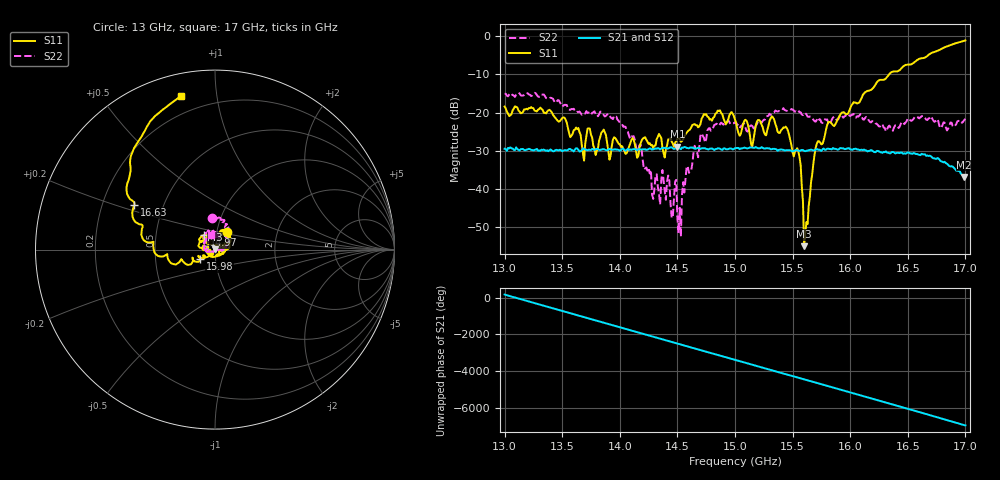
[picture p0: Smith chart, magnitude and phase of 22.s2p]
!Keysight Technologies,P9374A,MY57211807,A.19.30.04
!Date: Friday, May 01, 2026 14:44:44
!Correction: S11(C  2-Port  )
!S21(C  2-Port  )
!S12(C  2-Port  )
!S22(C  2-Port  )
!S2P File: Measurements: S11, S21, S12, S22:
# Hz S  RI  R 50
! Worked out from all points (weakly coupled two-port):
!   401 points, 13 GHz to 17 GHz, reference 50 ohm
!   highest |S21| = -28.92 dB at 14.5 GHz (marker M1); lowest = -36.8 dB at 16.99 GHz (marker M2)
!   lowest |S11| = -55.0 dB at 15.6 GHz (marker M3), VSWR 1.00, Z = 50.1 + j0.129 ohm
!   |S11| at or under -10 dB: start of sweep to 16.34 GHz
!   |S22| runs from -52.5 to -14.8 dB; largest |S21 - S12| = 0.0014
!   S11 on the Smith chart (normalised r, x): 13 GHz: 1.12, +0.23; 14.97 GHz: 0.87, +0.14; 15.98 GHz: 0.85, -0.09; 16.63 GHz: 0.34, +0.23; 17 GHz: 0.11, +0.80
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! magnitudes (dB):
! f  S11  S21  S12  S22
! 13 GHz  -18.4  -29.5  -29.4  -15.1
! 13.39 GHz  -19.3  -29.8  -29.8  -16.2
! 13.67 GHz  -28.5  -29.8  -29.8  -20.6
! 13.97 GHz  -27.1  -29.7  -29.7  -21.1
! 14.34 GHz  -25.6  -29.4  -29.4  -41.1
! 14.5 GHz  -26.8  -28.9  -28.9  -47.6
! 14.52 GHz  -26.9  -29.4  -29.4  -44.9
! 14.57 GHz  -25.7  -29.1  -29.1  -37.6
! 14.71 GHz  -21.6  -29.3  -29.4  -25.4
! 14.97 GHz  -19.9  -29.5  -29.4  -22.8
! 15 GHz  -21.8  -29.3  -29.3  -22.5
! 15.45 GHz  -24.1  -29.8  -29.8  -19.6
! 15.55 GHz  -30.2  -30.0  -29.9  -19.5
! 15.6 GHz  -55.0  -30.0  -30.0  -20.2
! 15.62 GHz  -48.7  -30.0  -30.0  -20.5
! 15.67 GHz  -36.2  -29.8  -29.8  -21.3
! 15.81 GHz  -22.5  -29.5  -29.5  -22.7
! 15.98 GHz  -20.3  -29.4  -29.4  -20.4
! 16.34 GHz  -9.9  -30.6  -30.6  -23.4
! 16.63 GHz  -5.8  -30.9  -30.9  -20.9
! 16.99 GHz  -1.2  -36.8  -36.8  -22.0
! 17 GHz  -1.2  -36.8  -36.9  -21.7
